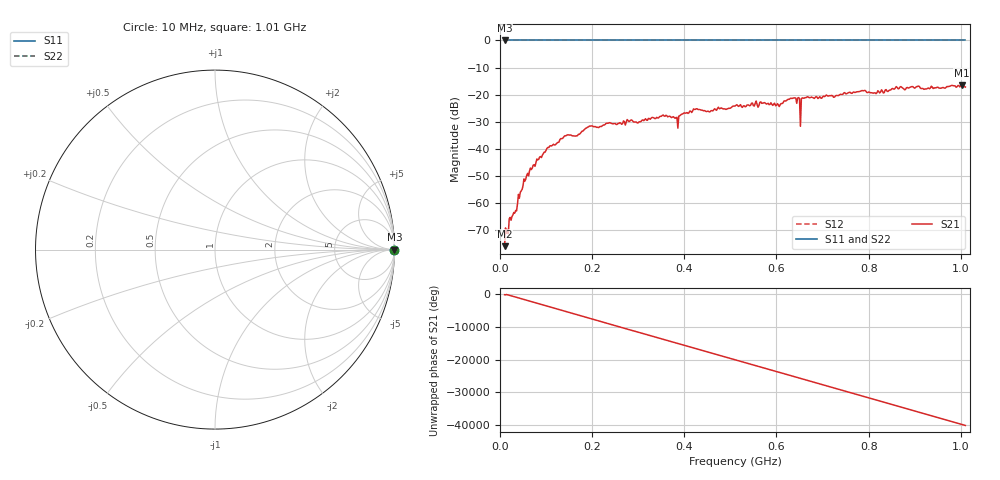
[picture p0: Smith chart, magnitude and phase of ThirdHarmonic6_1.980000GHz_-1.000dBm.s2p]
! 8/16/2025 11:48:46 PM
! C:\ANRITSUVNA\TEMP\TEMP.S2P
! CHANNEL.1
! TR.MEASUREMENT
! RAW.DATA
! RF.CORRECTION.OFF
! AVERAGING.OFF
! IF.BANDWIDTH: 5KHZ
! SWEEPTYPE:  FREQ.SWEEP(Linear)
! Reference Plane Port Info
! PORT:  PORT1  PORT2
! DISTANCE:  0  m  0  m
! TIME:  0  s  0  s
! PHASE.OFFSET:  0  deg.  0  deg.
! LOSS:  0  dB  0  dB
! REF.LOSS:  0  dB  0  dB
! REF.FREQ:  0  Hz  0  Hz
! Power Info
! POWER:  -20  dBm  -20  dBm
! EFF.POWER:  -20  dBm  -20  dBm
! SOURCE.ATTEN:  0  dB  0  dB
! TEST.ATTEN:  0  dB  0  dB
# GHZ S RI R 50.0
! FREQ.GHZ  S11RE  S11IM  S21RE  S21IM  S12RE  S12IM  S22RE  S22IM
!; PortSelection: Port_12
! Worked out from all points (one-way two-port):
!   501 points, 10 MHz to 1.01 GHz, reference 50 ohm
!   highest |S21| = -16.50 dB at 1.002 GHz (marker M1); lowest = -75.9 dB at 10 MHz (marker M2)
!   lowest |S11| = 0.0 dB at 10 MHz (marker M3)
!   |S11| at or under -10 dB: nowhere
!   |S22| runs from 0.0 to 0.0 dB; largest |S21 - S12| = 1.1
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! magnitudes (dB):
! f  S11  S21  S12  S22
! 10 MHz  0.0  -75.9  0.0  0.0
! 54 MHz  0.0  -51.9  0.0  0.0
! 68 MHz  0.0  -47.7  0.0  0.0
! 106 MHz  0.0  -39.5  0.0  0.0
! 144 MHz  0.0  -35.1  0.0  0.0
! 178 MHz  0.0  -33.5  0.0  0.0
! 196 MHz  0.0  -31.6  0.0  0.0
! 344 MHz  0.0  -28.6  0.0  0.0
! 382 MHz  0.0  -28.5  0.0  0.0
! 424 MHz  0.0  -25.4  0.0  0.0
! 452 MHz  0.0  -26.1  0.0  0.0
! 510 MHz  0.0  -24.2  0.0  0.0
! 602 MHz  0.0  -23.3  0.0  0.0
! 638 MHz  0.0  -21.2  0.0  0.0
! 646 MHz  0.0  -21.2  0.0  0.0
! 648 MHz  0.0  -21.1  0.0  0.0
! 656 MHz  0.0  -21.2  0.0  0.0
! 658 MHz  0.0  -21.3  0.0  0.0
! 678 MHz  0.0  -21.0  0.0  0.0
! 844 MHz  0.0  -18.5  0.0  0.0
! 1.002 GHz  0.0  -16.5  0.0  0.0
! 1.01 GHz  0.0  -17.2  0.0  0.0
